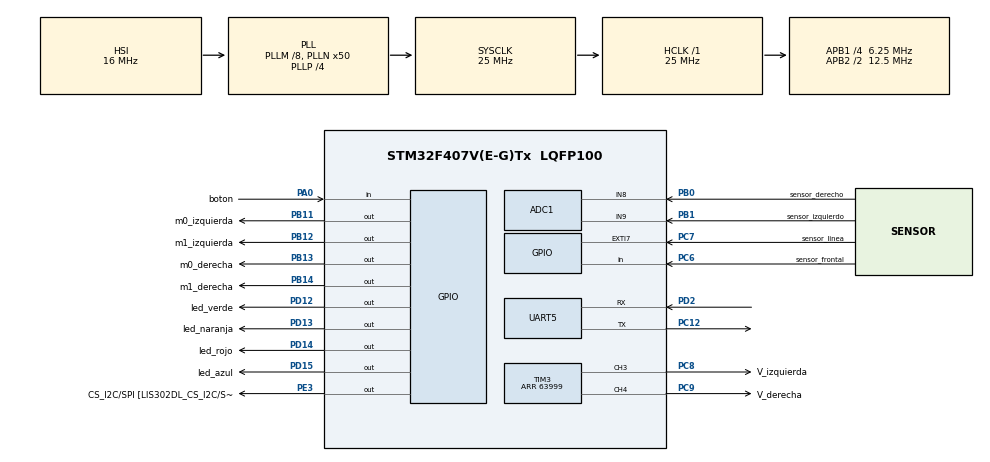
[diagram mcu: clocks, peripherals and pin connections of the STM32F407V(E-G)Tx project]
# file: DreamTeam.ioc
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ADC1.Channel-1\#ChannelRegularConversion=ADC_CHANNEL_9
ADC1.Channel-2\#ChannelRegularConversion=ADC_CHANNEL_8
ADC1.ClockPrescaler=ADC_CLOCK_SYNC_PCLK_DIV8
ADC1.ContinuousConvMode=ENABLE
ADC1.DMAContinuousRequests=ENABLE
ADC1.DiscontinuousConvMode=DISABLE
ADC1.EOCSelection=ADC_EOC_SEQ_CONV
ADC1.NbrOfConversion=2
ADC1.NbrOfConversionFlag=1
ADC1.Rank-1\#ChannelRegularConversion=1
ADC1.Rank-2\#ChannelRegularConversion=2
ADC1.SamplingTime-1\#ChannelRegularConversion=ADC_SAMPLETIME_3CYCLES
ADC1.SamplingTime-2\#ChannelRegularConversion=ADC_SAMPLETIME_3CYCLES
ADC1.ScanConvMode=ENABLE
ADC1.master=1
Dma.ADC1.0.Direction=DMA_PERIPH_TO_MEMORY
Dma.ADC1.0.FIFOMode=DMA_FIFOMODE_DISABLE
Dma.ADC1.0.Instance=DMA2_Stream0
Dma.ADC1.0.MemDataAlignment=DMA_MDATAALIGN_HALFWORD
Dma.ADC1.0.MemInc=DMA_MINC_ENABLE
Dma.ADC1.0.Mode=DMA_CIRCULAR
Dma.ADC1.0.PeriphDataAlignment=DMA_PDATAALIGN_HALFWORD
Dma.ADC1.0.PeriphInc=DMA_PINC_DISABLE
Dma.ADC1.0.Priority=DMA_PRIORITY_MEDIUM
Dma.Request0=ADC1
Mcu.Family=STM32F4
Mcu.Name=STM32F407V(E-G)Tx
Mcu.Package=LQFP100
NVIC.DMA2_Stream0_IRQn=true\:0\:0\:false\:false\:true\:false\:true\:true
NVIC.EXTI9_5_IRQn=true\:0\:0\:false\:false\:true\:true\:true\:true
NVIC.PriorityGroup=NVIC_PRIORITYGROUP_0
NVIC.TIM8_TRG_COM_TIM14_IRQn=true\:0\:0\:false\:false\:true\:true\:true\:true
NVIC.UART5_IRQn=true\:0\:0\:false\:false\:true\:true\:true\:true
PA0-WKUP.GPIO_Label=boton
PA0-WKUP.Signal=GPIO_Input
PB0.GPIO_Label=sensor_derecho
PB0.Signal=ADCx_IN8
PB1.GPIO_Label=sensor_izquierdo
PB1.Signal=ADCx_IN9
PB11.GPIO_Label=m0_izquierda
PB11.Signal=GPIO_Output
PB12.GPIO_Label=m1_izquierda
PB12.Signal=GPIO_Output
PB13.GPIO_Label=m0_derecha
PB13.Signal=GPIO_Output
PB14.GPIO_Label=m1_derecha
PB14.Signal=GPIO_Output
PC12.Mode=Asynchronous
PC12.Signal=UART5_TX
PC6.GPIO_Label=sensor_frontal
PC6.Signal=GPIO_Input
PC7.GPIO_Label=sensor_linea
PC7.GPIO_ModeDefaultEXTI=GPIO_MODE_IT_FALLING
PC7.Signal=GPXTI7
PC8.GPIO_Label=V_izquierda
PC8.Signal=S_TIM3_CH3
PC9.GPIO_Label=V_derecha
PC9.Signal=S_TIM3_CH4
PD12.GPIO_Label=led_verde
PD12.Signal=GPIO_Output
PD13.GPIO_Label=led_naranja
PD13.Signal=GPIO_Output
PD14.GPIO_Label=led_rojo
PD14.Signal=GPIO_Output
PD15.GPIO_Label=led_azul
PD15.Signal=GPIO_Output
PD2.Mode=Asynchronous
PD2.Signal=UART5_RX
PE3.GPIO_Label=CS_I2C/SPI [LIS302DL_CS_I2C/SPI]
PE3.GPIO_PuPd=GPIO_NOPULL
PE3.GPIO_Speed=GPIO_SPEED_FREQ_LOW
PE3.Signal=GPIO_Output
ProjectManager.HeapSize=0x200
ProjectManager.StackSize=0x400
ProjectManager.TargetToolchain=STM32CubeIDE
RCC.48MHZClocksFreq_Value=14285714.285714285
RCC.AHBFreq_Value=25000000
RCC.APB1CLKDivider=RCC_HCLK_DIV4
RCC.APB1Freq_Value=6250000
RCC.APB1TimFreq_Value=12500000
RCC.APB2CLKDivider=RCC_HCLK_DIV2
RCC.APB2Freq_Value=12500000
RCC.APB2TimFreq_Value=25000000
RCC.CortexFreq_Value=25000000
RCC.HCLKFreq_Value=25000000
RCC.HSE_VALUE=8000000
RCC.HSI_VALUE=16000000
RCC.LSE_VALUE=32768
RCC.PLLM=8
RCC.PLLN=50
RCC.PLLP=RCC_PLLP_DIV4
RCC.PLLQ=7
RCC.SYSCLKFreq_VALUE=25000000
RCC.SYSCLKSource=RCC_SYSCLKSOURCE_PLLCLK
RCC.VCOOutputFreq_Value=100000000
SH.ADCx_IN8.0=ADC1_IN8,IN8
SH.ADCx_IN9.0=ADC1_IN9,IN9
SH.S_TIM3_CH3.0=TIM3_CH3,PWM Generation3 CH3
SH.S_TIM3_CH4.0=TIM3_CH4,PWM Generation4 CH4
TIM14.Period=99
TIM14.Prescaler=12499
TIM3.Channel-PWM\ Generation3\ CH3=TIM_CHANNEL_3
TIM3.Channel-PWM\ Generation4\ CH4=TIM_CHANNEL_4
TIM3.Period=63999
UART5.VirtualMode=Asynchronous
VP_TIM14_VS_ClockSourceINT.Mode=Enable_Timer
VP_TIM3_VS_ClockSourceINT.Mode=Internal
board=STM32F407G-DISC1

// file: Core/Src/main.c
/* USER CODE BEGIN Header */
/**
 ******************************************************************************
 * @file           : main.c
 * @brief          : Main program body
 ******************************************************************************
 * @attention
 *
 * Copyright (c) 2025 STMicroelectronics.
 * All rights reserved.
 *
 * This software is licensed under terms that can be found in the LICENSE file
 * in the root directory of this software component.
 * If no LICENSE file comes with this software, it is provided AS-IS.
 *
 ******************************************************************************
 */
/* USER CODE END Header */
#include "main.h"

/* USER CODE BEGIN Includes */
#include <stdint.h>
#include <stdbool.h>
#include <stdio.h> //Nos permite usar la función sprintf
#include <string.h> //Nos permite usar la función strcat
/* USER CODE END Includes */

/* USER CODE BEGIN PD */

#define norte 0 // Direcciones hacia donde puede estar mirando el autito
#define este  1
#define sur   2
#define oeste 3

#define adelante 0 // Tipos de giro que puede hacer
#define izquierda 1
#define derecha  2
#define giro_180   3

#define avance     0b01
#define retroceso  0b10
#define freno      0b00

#define v_max 63999

#define v_media 32000
/*
 #define v_min 0
 #define v_media_izq 32000
 #define v_media_der 27500
 #define tiempo_giro90_der_max 620   //AUTITO DE DEMIAN
 #define tiempo_giro90_izq_max 620
 #define tiempo_giro90_der_min 580
 #define tiempo_giro90_izq_min 580

 #define tiempo_giro180 1020
 #define tiempo_giro90_2 680
 */
#define v_min 0
#define v_media_izq 31000
#define v_media_der 30000
#define tiempo_giro90_der_max 580  //AUTITO DEL NONO
#define tiempo_giro90_izq_max 580
#define tiempo_giro90_der_min 520
#define tiempo_giro90_izq_min 520

#define tiempo_giro180 1020
#define tiempo_giro90_2 580

#define tiempo_muerto_avanzar 200
#define tiempo_muerto 200
#define tiempo_mini 150
#define tiempo_rebotes 20
#define tiempo_muerto_retroceso 80
#define tiempo_correccion_despues_del_giro 250

#define cant_casilleros 16

/* USER CODE END PD */

ADC_HandleTypeDef hadc1;
DMA_HandleTypeDef hdma_adc1;

TIM_HandleTypeDef htim3;
TIM_HandleTypeDef htim14;

UART_HandleTypeDef huart5;

/* USER CODE BEGIN PV */
char mensaje[32];
const uint8_t delay = 50;
uint8_t ubicacion = 0;    //defino ubicacion (va a ser un numero entre 0 y 15)
uint8_t orientacion_actual = norte;
uint8_t orientacion_futura = norte;
uint8_t casilla_n = 4;   // la casilla a la cual hay q ir
uint8_t giro;
uint8_t peso[cant_casilleros];
uint8_t pared[cant_casilleros];
uint8_t contador_casillas = 0;
uint8_t prueba;
uint8_t contador_giros = 0;
uint8_t uart_llegada = 0;
uint8_t flag_correcion = 0;
uint16_t sensor_izq_min = 32700;
uint16_t sensor_der_min = 32700;
uint16_t sensor_izq_max = 0;
uint16_t sensor_der_max = 0;
uint16_t margen_i;
uint16_t margen_d;
uint8_t contador_aux = 0;

bool ultima_rueda_apagada_d;

uint8_t camino_solucion[32] = { 0 };
uint8_t girando = 0;

volatile uint32_t tiempo_inicio_2 = 0;
volatile uint8_t solicitud_linea = 0;
volatile uint8_t filtrado_linea = 0;

uint16_t dma_buffer[64];

volatile uint8_t contador_correcion = 0;
volatile uint16_t sensor_izq_avg;
volatile uint16_t sensor_der_avg;
/* USER CODE END PV */

void SystemClock_Config(void);
static void MX_GPIO_Init(void);
static void MX_DMA_Init(void);
static void MX_ADC1_Init(void);
static void MX_TIM3_Init(void);
static void MX_UART5_Init(void);
static void MX_TIM14_Init(void);
/* USER CODE BEGIN PFP */
uint8_t obtener_orientacion_futura(uint8_t casilla_actual, uint8_t casilla_n);
uint8_t obtenerGiro(uint8_t orientacion_actual, uint8_t orientacion_futura, uint8_t ubicacioner);
uint8_t act_ubicacion(uint8_t ubicacion, uint8_t orientacion_actual);
void act_pesos(uint8_t *pared, uint8_t *peso);
uint8_t act_pared(uint8_t *pared, uint8_t ubicacion, uint8_t orientacion_actual);
uint8_t calculo_minimo_peso(uint8_t *peso, uint8_t *pared, uint8_t ubicacion, uint8_t orientacion_actual);

void eliminar_repetidos(uint8_t *camino_solucion, uint8_t contador_casillas);
void de_reversa_mami(void);
void correccion_avanzar(void);
void avanzar(void);
void apagar_izquierda(void);
void apagar_derecha(void);
void setMotorIzquierdo(uint8_t modo);
void setMotorDerecho(uint8_t modo);
void ejecutarGiro(uint8_t giro);
void prueba_avanzar(void);
void programa_principal(void);
void mini_retroceso(void);
void ajuste_automatico(void);
void mini_avance(void);
void de_reversa_mami(void);
void envio_ubicacion(uint8_t ubicacion, uint8_t casilla_n);
void envio_pared(void);
void envio_llegada(void);
void envio_casilla_n(uint8_t casilla_n);
void envio_contador(uint8_t contador_aux);
void filtrado_linea_funcion(void);
void comprobacion(void);
/* USER CODE END PFP */

int main(void) {

	/* MCU Configuration--------------------------------------------------------*/

	/* Reset of all peripherals, Initializes the Flash interface and the Systick. */
	HAL_Init();

	/* Configure the system clock */
	SystemClock_Config();

	/* Initialize all configured peripherals */
	MX_GPIO_Init();
	MX_DMA_Init();
	MX_ADC1_Init();
	MX_TIM3_Init();
	MX_UART5_Init();
	MX_TIM14_Init();
	/* USER CODE BEGIN 2 */

	HAL_ADC_Start_DMA(&hadc1, (uint32_t*) dma_buffer, 64);

	peso[15] = 0;  //inicialización de pesos
	peso[11] = peso[14] = 1;
	peso[7] = peso[10] = peso[13] = 2;
	peso[3] = peso[6] = peso[9] = peso[12] = 3;
	peso[2] = peso[5] = peso[8] = 4;
	peso[1] = peso[4] = 5;
	peso[0] = 6;

	//paredes de cada casilla (8=pared en norte, 4=pared en este, 2=pared en sur, 1=pared en oeste)
	pared[0] = 6; //se suma sur y este
	pared[1] = pared[2] = 2; //solo sur
	pared[3] = 3;  //se suma sur y oeste
	pared[7] = pared[11] = 1; // solo oeste
	pared[15] = 9;  //se suma norte y oeste
	pared[14] = pared[13] = 8; //solo norte
	pared[12] = 12; //se suma mprte y este
	pared[4] = pared[8] = 4; //solo este
	pared[5] = pared[6] = pared[9] = pared[10] = 0;

	girando = 0;

	HAL_GPIO_WritePin(m1_izquierda_GPIO_Port, m1_izquierda_Pin, GPIO_PIN_RESET); // INICIALIZACION EN AVANZAR
	HAL_GPIO_WritePin(m0_izquierda_GPIO_Port, m0_izquierda_Pin, GPIO_PIN_SET);
	HAL_GPIO_WritePin(m1_derecha_GPIO_Port, m1_derecha_Pin, GPIO_PIN_RESET);
	HAL_GPIO_WritePin(m0_derecha_GPIO_Port, m0_derecha_Pin, GPIO_PIN_SET);
	HAL_TIM_PWM_Start(&htim3, TIM_CHANNEL_3); // Inicio de la modulación PWM, rueda izquierda
	HAL_TIM_PWM_Start(&htim3, TIM_CHANNEL_4); // Inicio de la modulación PWM, rueda derecha
	TIM3->CCR3 = 0; // rueda a velocidad media (condigurable)
	TIM3->CCR4 = 0; // rueda a velocidad media

	HAL_GPIO_WritePin(led_verde_GPIO_Port, led_verde_Pin, GPIO_PIN_RESET);
	HAL_GPIO_WritePin(led_naranja_GPIO_Port, led_naranja_Pin, GPIO_PIN_RESET);
	HAL_GPIO_WritePin(led_rojo_GPIO_Port, led_rojo_Pin, GPIO_PIN_RESET);
	HAL_GPIO_WritePin(led_azul_GPIO_Port, led_azul_Pin, GPIO_PIN_RESET);

	HAL_TIM_Base_Start_IT(&htim14);

	ubicacion = 0;
	uart_llegada = 0;

	prueba = 1; //Aca se elige que programa queremos que se realice
	/* USER CODE END 2 */

	/* Infinite loop */
	while (1) {

		/* USER CODE BEGIN 3 */

		switch (prueba) {

		case 0: {
			prueba_avanzar();
			break;
		}
		case 1: {
			camino_solucion[0] = 0;
			contador_correcion = 0;
			sensor_izq_min = 32700;
			sensor_der_min = 32700;
			sensor_izq_max = 0;
			sensor_der_max = 0;
			ubicacion = 0;
			prueba = 5;
			break;
		}
		case 3: {
			if (HAL_GPIO_ReadPin(boton_GPIO_Port, boton_Pin) == GPIO_PIN_SET) {
				HAL_Delay(40);
				if (HAL_GPIO_ReadPin(boton_GPIO_Port, boton_Pin) == GPIO_PIN_SET) {
					ubicacion = 0;
					envio_ubicacion(ubicacion, casilla_n);
					prueba = 4;
					HAL_Delay(1000);
					if (ubicacion == 15) {
						if (orientacion_actual == norte) {
							orientacion_actual = sur;
							casilla_n = 11;
						}
						if (orientacion_actual == oeste) {
							orientacion_actual = este;
							casilla_n = 14;
						}
					}

				}
			}
			break;
		}
		case 4: {
			HAL_GPIO_WritePin(led_rojo_GPIO_Port, led_rojo_Pin, GPIO_PIN_RESET);
			HAL_GPIO_WritePin(led_verde_GPIO_Port, led_verde_Pin, GPIO_PIN_SET);
			programa_principal();
			break;
		}
		case 5: {
			HAL_GPIO_WritePin(led_rojo_GPIO_Port, led_rojo_Pin, GPIO_PIN_SET);
			HAL_GPIO_WritePin(led_azul_GPIO_Port, led_azul_Pin, GPIO_PIN_SET);
			ajuste_automatico();
			contador_correcion = 0;
			break;
		}

		case 10:
			contador_correcion = 0;
			TIM3->CCR3 = 0;
			TIM3->CCR4 = 0;
			HAL_GPIO_WritePin(led_verde_GPIO_Port, led_verde_Pin, GPIO_PIN_SET);
			HAL_GPIO_WritePin(led_naranja_GPIO_Port, led_naranja_Pin, GPIO_PIN_SET);
			HAL_GPIO_WritePin(led_rojo_GPIO_Port, led_rojo_Pin, GPIO_PIN_SET);
			HAL_GPIO_WritePin(led_azul_GPIO_Port, led_azul_Pin, GPIO_PIN_SET);
			envio_llegada();
			if (HAL_GPIO_ReadPin(boton_GPIO_Port, boton_Pin) == GPIO_PIN_SET) {
				HAL_Delay(40);
				if (HAL_GPIO_ReadPin(boton_GPIO_Port, boton_Pin) == GPIO_PIN_SET) {
					prueba = 11;
					HAL_GPIO_WritePin(led_verde_GPIO_Port, led_verde_Pin, GPIO_PIN_RESET);
					HAL_GPIO_WritePin(led_naranja_GPIO_Port, led_naranja_Pin, GPIO_PIN_RESET);
					HAL_GPIO_WritePin(led_rojo_GPIO_Port, led_rojo_Pin, GPIO_PIN_RESET);
					HAL_GPIO_WritePin(led_azul_GPIO_Port, led_azul_Pin, GPIO_PIN_RESET);
				}
			}
			break;
		case 11:
			//eliminar_repetidos(camino_solucion, contador_casillas);

			contador_giros = 0;
			contador_correcion = 0;
			contador_casillas = contador_casillas - 1;
			casilla_n = camino_solucion[contador_casillas];
			envio_casilla_n(casilla_n);
			ejecutarGiro(giro_180);

			prueba = 12;
			break;
		case 12:
			de_reversa_mami();
			break;
		}

	}
	/* USER CODE END 3 */
}

void SystemClock_Config(void) {
	RCC_OscInitTypeDef RCC_OscInitStruct = { 0 };
	RCC_ClkInitTypeDef RCC_ClkInitStruct = { 0 };

	/** Configure the main internal regulator output voltage
	 */
	__HAL_RCC_PWR_CLK_ENABLE();
	__HAL_PWR_VOLTAGESCALING_CONFIG(PWR_REGULATOR_VOLTAGE_SCALE1);

	/** Initializes the RCC Oscillators according to the specified parameters
	 * in the RCC_OscInitTypeDef structure.
	 */
	RCC_OscInitStruct.OscillatorType = RCC_OSCILLATORTYPE_HSI;
	RCC_OscInitStruct.HSIState = RCC_HSI_ON;
	RCC_OscInitStruct.HSICalibrationValue = RCC_HSICALIBRATION_DEFAULT;
	RCC_OscInitStruct.PLL.PLLState = RCC_PLL_ON;
	RCC_OscInitStruct.PLL.PLLSource = RCC_PLLSOURCE_HSI;
	RCC_OscInitStruct.PLL.PLLM = 8;
	RCC_OscInitStruct.PLL.PLLN = 50;
	RCC_OscInitStruct.PLL.PLLP = RCC_PLLP_DIV4;
	RCC_OscInitStruct.PLL.PLLQ = 7;
	if (HAL_RCC_OscConfig(&RCC_OscInitStruct) != HAL_OK) {
		Error_Handler();
	}

	/** Initializes the CPU, AHB and APB buses clocks
	 */
	RCC_ClkInitStruct.ClockType = RCC_CLOCKTYPE_HCLK | RCC_CLOCKTYPE_SYSCLK | RCC_CLOCKTYPE_PCLK1 | RCC_CLOCKTYPE_PCLK2;
	RCC_ClkInitStruct.SYSCLKSource = RCC_SYSCLKSOURCE_PLLCLK;
	RCC_ClkInitStruct.AHBCLKDivider = RCC_SYSCLK_DIV1;
	RCC_ClkInitStruct.APB1CLKDivider = RCC_HCLK_DIV4;
	RCC_ClkInitStruct.APB2CLKDivider = RCC_HCLK_DIV2;

	if (HAL_RCC_ClockConfig(&RCC_ClkInitStruct, FLASH_LATENCY_0) != HAL_OK) {
		Error_Handler();
	}
}

static void MX_ADC1_Init(void) {

	ADC_ChannelConfTypeDef sConfig = { 0 };

	/** Configure the global features of the ADC (Clock, Resolution, Data Alignment and number of conversion)
	 */
	hadc1.Instance = ADC1;
	hadc1.Init.ClockPrescaler = ADC_CLOCK_SYNC_PCLK_DIV8;
	hadc1.Init.Resolution = ADC_RESOLUTION_12B;
	hadc1.Init.ScanConvMode = ENABLE;
	hadc1.Init.ContinuousConvMode = ENABLE;
	hadc1.Init.DiscontinuousConvMode = DISABLE;
	hadc1.Init.ExternalTrigConvEdge = ADC_EXTERNALTRIGCONVEDGE_NONE;
	hadc1.Init.ExternalTrigConv = ADC_SOFTWARE_START;
	hadc1.Init.DataAlign = ADC_DATAALIGN_RIGHT;
	hadc1.Init.NbrOfConversion = 2;
	hadc1.Init.DMAContinuousRequests = ENABLE;
	hadc1.Init.EOCSelection = ADC_EOC_SEQ_CONV;
	if (HAL_ADC_Init(&hadc1) != HAL_OK) {
		Error_Handler();
	}

	/** Configure for the selected ADC regular channel its corresponding rank in the sequencer and its sample time.
	 */
	sConfig.Channel = ADC_CHANNEL_9;
	sConfig.Rank = 1;
	sConfig.SamplingTime = ADC_SAMPLETIME_3CYCLES;
	if (HAL_ADC_ConfigChannel(&hadc1, &sConfig) != HAL_OK) {
		Error_Handler();
	}

	/** Configure for the selected ADC regular channel its corresponding rank in the sequencer and its sample time.
	 */
	sConfig.Channel = ADC_CHANNEL_8;
	sConfig.Rank = 2;
	if (HAL_ADC_ConfigChannel(&hadc1, &sConfig) != HAL_OK) {
		Error_Handler();
	}

}

static void MX_TIM3_Init(void) {

	TIM_ClockConfigTypeDef sClockSourceConfig = { 0 };
	TIM_MasterConfigTypeDef sMasterConfig = { 0 };
	TIM_OC_InitTypeDef sConfigOC = { 0 };

	htim3.Instance = TIM3;
	htim3.Init.Prescaler = 0;
	htim3.Init.CounterMode = TIM_COUNTERMODE_UP;
	htim3.Init.Period = 63999;
	htim3.Init.ClockDivision = TIM_CLOCKDIVISION_DIV1;
	htim3.Init.AutoReloadPreload = TIM_AUTORELOAD_PRELOAD_DISABLE;
	if (HAL_TIM_Base_Init(&htim3) != HAL_OK) {
		Error_Handler();
	}
	sClockSourceConfig.ClockSource = TIM_CLOCKSOURCE_INTERNAL;
	if (HAL_TIM_ConfigClockSource(&htim3, &sClockSourceConfig) != HAL_OK) {
		Error_Handler();
	}
	if (HAL_TIM_PWM_Init(&htim3) != HAL_OK) {
		Error_Handler();
	}
	sMasterConfig.MasterOutputTrigger = TIM_TRGO_RESET;
	sMasterConfig.MasterSlaveMode = TIM_MASTERSLAVEMODE_DISABLE;
	if (HAL_TIMEx_MasterConfigSynchronization(&htim3, &sMasterConfig) != HAL_OK) {
		Error_Handler();
	}
	sConfigOC.OCMode = TIM_OCMODE_PWM1;
	sConfigOC.Pulse = 0;
	sConfigOC.OCPolarity = TIM_OCPOLARITY_HIGH;
	sConfigOC.OCFastMode = TIM_OCFAST_DISABLE;
	if (HAL_TIM_PWM_ConfigChannel(&htim3, &sConfigOC, TIM_CHANNEL_3) != HAL_OK) {
		Error_Handler();
	}
	if (HAL_TIM_PWM_ConfigChannel(&htim3, &sConfigOC, TIM_CHANNEL_4) != HAL_OK) {
		Error_Handler();
	}
	HAL_TIM_MspPostInit(&htim3);

}

static void MX_TIM14_Init(void) {

	htim14.Instance = TIM14;
	htim14.Init.Prescaler = 12499;
	htim14.Init.CounterMode = TIM_COUNTERMODE_UP;
	htim14.Init.Period = 99;
	htim14.Init.ClockDivision = TIM_CLOCKDIVISION_DIV1;
	htim14.Init.AutoReloadPreload = TIM_AUTORELOAD_PRELOAD_DISABLE;
	if (HAL_TIM_Base_Init(&htim14) != HAL_OK) {
		Error_Handler();
	}

}

static void MX_UART5_Init(void) {

	huart5.Instance = UART5;
	huart5.Init.BaudRate = 115200;
	huart5.Init.WordLength = UART_WORDLENGTH_8B;
	huart5.Init.StopBits = UART_STOPBITS_1;
	huart5.Init.Parity = UART_PARITY_NONE;
	huart5.Init.Mode = UART_MODE_TX_RX;
	huart5.Init.HwFlowCtl = UART_HWCONTROL_NONE;
	huart5.Init.OverSampling = UART_OVERSAMPLING_16;
	if (HAL_UART_Init(&huart5) != HAL_OK) {
		Error_Handler();
	}

}

static void MX_DMA_Init(void) {

	/* DMA controller clock enable */
	__HAL_RCC_DMA2_CLK_ENABLE();

	/* DMA interrupt init */
	/* DMA2_Stream0_IRQn interrupt configuration */
	HAL_NVIC_SetPriority(DMA2_Stream0_IRQn, 0, 0);
	HAL_NVIC_EnableIRQ(DMA2_Stream0_IRQn);

}

static void MX_GPIO_Init(void) {
	GPIO_InitTypeDef GPIO_InitStruct = { 0 };

	/* GPIO Ports Clock Enable */
	__HAL_RCC_GPIOE_CLK_ENABLE();
	__HAL_RCC_GPIOA_CLK_ENABLE();
	__HAL_RCC_GPIOB_CLK_ENABLE();
	__HAL_RCC_GPIOD_CLK_ENABLE();
	__HAL_RCC_GPIOC_CLK_ENABLE();

	/*Configure GPIO pin Output Level */
	HAL_GPIO_WritePin(CS_I2C_SPI_GPIO_Port, CS_I2C_SPI_Pin, GPIO_PIN_RESET);

	/*Configure GPIO pin Output Level */
	HAL_GPIO_WritePin(GPIOB, m0_izquierda_Pin | m1_izquierda_Pin | m0_derecha_Pin | m1_derecha_Pin, GPIO_PIN_RESET);

	/*Configure GPIO pin Output Level */
	HAL_GPIO_WritePin(GPIOD, led_verde_Pin | led_naranja_Pin | led_rojo_Pin | led_azul_Pin, GPIO_PIN_RESET);

	/*Configure GPIO pin : CS_I2C_SPI_Pin */
	GPIO_InitStruct.Pin = CS_I2C_SPI_Pin;
	GPIO_InitStruct.Mode = GPIO_MODE_OUTPUT_PP;
	GPIO_InitStruct.Pull = GPIO_NOPULL;
	GPIO_InitStruct.Speed = GPIO_SPEED_FREQ_LOW;
	HAL_GPIO_Init(CS_I2C_SPI_GPIO_Port, &GPIO_InitStruct);

	/*Configure GPIO pin : boton_Pin */
	GPIO_InitStruct.Pin = boton_Pin;
	GPIO_InitStruct.Mode = GPIO_MODE_INPUT;
	GPIO_InitStruct.Pull = GPIO_NOPULL;
	HAL_GPIO_Init(boton_GPIO_Port, &GPIO_InitStruct);

	/*Configure GPIO pins : m0_izquierda_Pin m1_izquierda_Pin m0_derecha_Pin m1_derecha_Pin */
	GPIO_InitStruct.Pin = m0_izquierda_Pin | m1_izquierda_Pin | m0_derecha_Pin | m1_derecha_Pin;
	GPIO_InitStruct.Mode = GPIO_MODE_OUTPUT_PP;
	GPIO_InitStruct.Pull = GPIO_NOPULL;
	GPIO_InitStruct.Speed = GPIO_SPEED_FREQ_LOW;
	HAL_GPIO_Init(GPIOB, &GPIO_InitStruct);

	/*Configure GPIO pins : led_verde_Pin led_naranja_Pin led_rojo_Pin led_azul_Pin */
	GPIO_InitStruct.Pin = led_verde_Pin | led_naranja_Pin | led_rojo_Pin | led_azul_Pin;
	GPIO_InitStruct.Mode = GPIO_MODE_OUTPUT_PP;
	GPIO_InitStruct.Pull = GPIO_NOPULL;
	GPIO_InitStruct.Speed = GPIO_SPEED_FREQ_LOW;
	HAL_GPIO_Init(GPIOD, &GPIO_InitStruct);

	/*Configure GPIO pin : sensor_frontal_Pin */
	GPIO_InitStruct.Pin = sensor_frontal_Pin;
	GPIO_InitStruct.Mode = GPIO_MODE_INPUT;
	GPIO_InitStruct.Pull = GPIO_NOPULL;
	HAL_GPIO_Init(sensor_frontal_GPIO_Port, &GPIO_InitStruct);

	/*Configure GPIO pin : sensor_linea_Pin */
	GPIO_InitStruct.Pin = sensor_linea_Pin;
	GPIO_InitStruct.Mode = GPIO_MODE_IT_FALLING;
	GPIO_InitStruct.Pull = GPIO_NOPULL;
	HAL_GPIO_Init(sensor_linea_GPIO_Port, &GPIO_InitStruct);

	/* EXTI interrupt init*/
	HAL_NVIC_SetPriority(EXTI9_5_IRQn, 0, 0);
	HAL_NVIC_EnableIRQ(EXTI9_5_IRQn);

}

/* USER CODE BEGIN 4 */

void HAL_TIM_PeriodElapsedCallback(TIM_HandleTypeDef *htim) {
	if (htim->Instance == TIM14) {
		contador_correcion = contador_correcion + 1;
	}
	flag_correcion = 1;
}

void comprobacion(void) {
	if (6 == contador_correcion) {
		if (ultima_rueda_apagada_d) {
			apagar_derecha();
		} else {
			apagar_izquierda();
		}
		HAL_GPIO_WritePin(led_rojo_GPIO_Port, led_rojo_Pin, GPIO_PIN_SET);
		HAL_GPIO_WritePin(led_azul_GPIO_Port, led_azul_Pin, GPIO_PIN_SET);
		HAL_GPIO_WritePin(led_verde_GPIO_Port, led_verde_Pin, GPIO_PIN_SET);
		HAL_GPIO_WritePin(led_naranja_GPIO_Port, led_naranja_Pin, GPIO_PIN_SET);
		HAL_Delay(250);
		HAL_GPIO_WritePin(led_rojo_GPIO_Port, led_rojo_Pin, GPIO_PIN_RESET);
		HAL_GPIO_WritePin(led_azul_GPIO_Port, led_azul_Pin, GPIO_PIN_RESET);
		HAL_GPIO_WritePin(led_verde_GPIO_Port, led_verde_Pin, GPIO_PIN_RESET);
		HAL_GPIO_WritePin(led_naranja_GPIO_Port, led_naranja_Pin, GPIO_PIN_RESET);
		avanzar();
		HAL_Delay(20);
		flag_correcion = 0;
	}
}

void eliminar_repetidos(uint8_t *camino_solucion, uint8_t contador_casillas) {
	for (int i = 0; i < contador_casillas - 1; i++) {
		for (int j = i + 1; j < contador_casillas; j++) {
			if (camino_solucion[i] == camino_solucion[j]) {
				// Se encontró repetido: eliminar todo entre i+1 y j inclusive
				uint8_t cantidad_a_eliminar = j - i;

				for (int k = j; k < contador_casillas; k++) {
					camino_solucion[k - cantidad_a_eliminar] = camino_solucion[k];
				}

				contador_casillas = contador_casillas - cantidad_a_eliminar;
				i = -1;  // Reiniciar para volver a analizar todo desde el inicio
				break;
			}
		}
	}

}

void de_reversa_mami(void) {  //codigo para ir de la casilla 15 a la 0... muy chiche
	correccion_avanzar();
	if (solicitud_linea == 1) { //cambio de casilla
		HAL_GPIO_WritePin(led_verde_GPIO_Port, led_verde_Pin, GPIO_PIN_SET);
		contador_correcion = 0;
		contador_giros = 0;
		contador_casillas = contador_casillas - 1;
		envio_ubicacion(ubicacion, casilla_n);
		ubicacion = act_ubicacion(ubicacion, orientacion_actual);
		casilla_n = camino_solucion[contador_casillas]; //calcula la casilla a la que hay q ir
		envio_casilla_n(casilla_n);
		orientacion_futura = obtener_orientacion_futura(ubicacion, casilla_n); //obtiene a la orientacion a la que hay que ir con la ubicacion actual y casilla n
		giro = obtenerGiro(orientacion_actual, orientacion_futura, ubicacion); //con la orientacion futura (orientación q quiero) y la orientacion actual que giro debo realizar
		orientacion_actual = orientacion_futura;  //actualizo la orientación
		if ((giro == derecha) || (giro == giro_180) || (giro == izquierda)) {
			mini_avance();
		}
		ejecutarGiro(giro); //giro y me voy del if
		solicitud_linea = 0;
		HAL_GPIO_WritePin(led_verde_GPIO_Port, led_verde_Pin, GPIO_PIN_RESET);
	}
	if (filtrado_linea == 1) {
		filtrado_linea_funcion();
	}
	if (ubicacion == 0)
		prueba = 10;
}
void ajuste_automatico(void) {

	if ((sensor_der_min == 0) || (sensor_izq_min == 0)) {
		sensor_der_min = 32000;
		sensor_izq_min = 32000;
	}
	if (sensor_der_min > sensor_der_avg) {
		sensor_der_min = sensor_der_avg;
	}
	if (sensor_izq_min > sensor_izq_avg) {
		sensor_izq_min = sensor_izq_avg;
	}
	if (sensor_der_max < sensor_der_avg) {
		sensor_der_max = sensor_der_avg;
	}
	if (sensor_izq_max < sensor_izq_avg) {
		sensor_izq_max = sensor_izq_avg;
	}
	if (HAL_GPIO_ReadPin(boton_GPIO_Port, boton_Pin) == GPIO_PIN_SET) {
		HAL_Delay(40);
		if (HAL_GPIO_ReadPin(boton_GPIO_Port, boton_Pin) == GPIO_PIN_SET) {
			margen_d = ((sensor_der_max * 0.6) + (sensor_der_min * 0.4));
			margen_i = ((sensor_izq_max * 0.6) + (sensor_izq_min * 0.4));
			prueba = 4;
			contador_aux = 0;
			HAL_GPIO_WritePin(led_rojo_GPIO_Port, led_rojo_Pin, GPIO_PIN_RESET);
			HAL_GPIO_WritePin(led_azul_GPIO_Port, led_azul_Pin, GPIO_PIN_RESET);
		}
	}
}

void prueba_avanzar(void) {
	avanzar(); //codigo sencillo para configurar los margenes del ADC y verificacion de las ruedas y pilas
//	ejecutarGiro(izquierda);
//	ejecutarGiro(adelante);

	;
}

void programa_principal(void) {
	if ((ubicacion == 0) || ((ubicacion == 4) && (orientacion_actual == norte))) {
		avanzar();
	} else {
		correccion_avanzar();
	}
	//avanzar();
	if (solicitud_linea == 1) { //cambio de casilla
		HAL_GPIO_WritePin(led_azul_GPIO_Port, led_azul_Pin, GPIO_PIN_SET);
		contador_correcion = 0;
		contador_giros = 0;
		contador_casillas = contador_casillas + 1;
		ubicacion = act_ubicacion(ubicacion, orientacion_actual);
		envio_ubicacion(ubicacion, casilla_n);
		if ((((ubicacion == 0) || (ubicacion == 4) || (ubicacion == 8) || (ubicacion == 12)) && (orientacion_actual == este)) ||                         // columnas izquierda
				((ubicacion >= 12) && (orientacion_actual == norte)) ||       // fila inferior
				((ubicacion >= 0 && ubicacion <= 3) && (orientacion_actual == sur)) ||           // fila superior
				((ubicacion % 4 == 3) && (orientacion_actual == oeste))                           // columnas derecha
				) {
			contador_aux = contador_aux + 1;
			mini_avance();
			mini_avance();
		}
		casilla_n = calculo_minimo_peso(peso, pared, ubicacion, orientacion_actual); //calcula la casilla a la que hay q ir
		envio_casilla_n(casilla_n);
		orientacion_futura = obtener_orientacion_futura(ubicacion, casilla_n); //obtiene a la orientacion a la que hay que ir con la ubicacion actual y casilla n
		if (ubicacion == 15) {
			if (orientacion_actual == norte) {
				orientacion_actual = sur;
				casilla_n = 11;
			}
			if (orientacion_actual == oeste) {
				orientacion_actual = este;
				casilla_n = 14;
			}
		}
		giro = obtenerGiro(orientacion_actual, orientacion_futura, ubicacion); //con la orientacion futura (orientación q quiero) y la orientacion actual que giro debo realizar
		if (ubicacion != 15) {
			orientacion_actual = orientacion_futura;  //actualizo la orientación
		}
		if ((giro == derecha) || (giro == giro_180) || (giro == izquierda)) {
			mini_avance();
		}
		ejecutarGiro(giro); //giro y me voy del if
		camino_solucion[contador_casillas] = ubicacion;
		solicitud_linea = 0;
		HAL_GPIO_WritePin(led_azul_GPIO_Port, led_azul_Pin, GPIO_PIN_RESET);
	}
	if (GPIO_PIN_RESET == HAL_GPIO_ReadPin(sensor_frontal_GPIO_Port, sensor_frontal_Pin)) {
		HAL_Delay(tiempo_rebotes);
		if (HAL_GPIO_ReadPin(sensor_frontal_GPIO_Port, sensor_frontal_Pin) == GPIO_PIN_RESET) {
			HAL_GPIO_WritePin(led_naranja_GPIO_Port, led_naranja_Pin, GPIO_PIN_SET);
			if (!(ubicacion == 15)) {
				contador_correcion = 0;
				envio_pared();
				setMotorIzquierdo(avance);
				setMotorDerecho(avance);
				HAL_Delay(tiempo_muerto_avanzar);
				mini_retroceso();
				//mini_avance();
				act_pared(pared, ubicacion, orientacion_actual); //primero actualiza la pared encontrada
				act_pesos(pared, peso);  //luego actualiza el peso
				casilla_n = calculo_minimo_peso(peso, pared, ubicacion, orientacion_actual); //calcula la casilla a la que hay q ir
				envio_casilla_n(casilla_n);
				//	envio_contador(contador_aux);
				orientacion_futura = obtener_orientacion_futura(ubicacion, casilla_n); //obtiene a la orientacion a la que hay que ir con la ubicacion actual y casilla n
				giro = obtenerGiro(orientacion_actual, orientacion_futura, ubicacion); //con la orientacion futura (orientación q quiero) y la orientacion actual que giro debo realizar
				orientacion_actual = orientacion_futura;  //actualizo la orientación
				if (contador_giros > 0) {
					mini_retroceso();
				}
				ejecutarGiro(giro); //giro y me voy del if
				HAL_GPIO_WritePin(led_naranja_GPIO_Port, led_naranja_Pin, GPIO_PIN_RESET);
			}

		}
	}
	if (filtrado_linea == 1) {
		filtrado_linea_funcion();
		contador_correcion = 0;
	}
	if (ubicacion == 15) {
		prueba = 10;
	}
	if ((flag_correcion == 1) && (ubicacion != 0)) {
		comprobacion();
		flag_correcion = 0;
	}
}

uint8_t obtener_orientacion_futura(uint8_t ubicacion, uint8_t casilla_n) { // Devuelve la dirección hacia donde hay que ir según la diferencia entre casillas
	if (casilla_n == ubicacion + 1)
		return oeste;
	if (casilla_n == ubicacion - 1)
		return este;
	if (casilla_n == ubicacion + 4)
		return norte;
	if (casilla_n == ubicacion - 4)
		return sur;

	return 100; // Movimiento no válido (no adyacente o fuera del tablero)
}

uint8_t obtenerGiro(uint8_t orientacion_actual, uint8_t orientacion_futura, uint8_t ubicacion) { // Calcula el giro que debe hacer el autito para pasar de su orientación actual a la deseada
	int diferencia = (orientacion_futura - orientacion_actual + 4) % 4; //el %4 se queda con el resto de la divsion por 4
	if (ubicacion == 15) {
		return adelante;
	}
	switch (diferencia) {
	case 0:
		return adelante;
	case 1:
		return derecha;
	case 2:
		return giro_180;
	case 3:
		return izquierda;
	default:
		return 100; // Error
	}
}
uint8_t act_ubicacion(uint8_t ubicacion, uint8_t orientacion_actual) {

	switch (orientacion_actual) {
	case 0:
		return ubicacion + 4;
	case 1:
		return ubicacion - 1;
	case 2:
		return ubicacion - 4;
	case 3:
		return ubicacion + 1;
	default:
		return 100; // Error
	}
}

void promediar(uint16_t *buffer) {
	uint32_t sensor_izq_sum = 0, sensor_der_sum = 0; // Inicializamos variables para acumular la suma de las muestras
	for (int i = 0; i < 16; ++i) { // Ralizamos la suma incrementando el puntero a las muestras
		sensor_izq_sum += buffer[0];
		sensor_der_sum += buffer[1]; //hago la suma y la guardo (eso significa el +=)
		buffer += 2;  //desplazo el puntero 2
	}
	sensor_izq_avg = sensor_izq_sum / 16; //divido 16 porq son 16 muestras
	sensor_der_avg = sensor_der_sum / 16;
}
void HAL_ADC_ConvHalfCpltCallback(ADC_HandleTypeDef *hadc) { // Rutina de antención a la interrupción de buffer a mitad
// Promediamos la primera mitad del buffer (el primer bloque de tamaño mínimo)
	promediar(&dma_buffer[0]);
}

void HAL_ADC_ConvCpltCallback(ADC_HandleTypeDef *hadc) { // Rutina de antención a la interrupción de buffer a tope
// Promediamos la segunda mitad del buffer (el segundo bloque de tamaño mínimo)
	promediar(&dma_buffer[32]);
}
void correccion_avanzar(void) {
	// corrección para el sensor izquierdo //auto demian
	if ((sensor_izq_avg < margen_i) && (margen_d < sensor_der_avg)) {
		apagar_izquierda();  // apagar motor derecho
		HAL_GPIO_WritePin(led_rojo_GPIO_Port, led_rojo_Pin, GPIO_PIN_SET);
		ultima_rueda_apagada_d = true;
		contador_correcion = 0;
	} else if ((margen_i < sensor_izq_avg) && (sensor_der_avg < margen_d)) { // avanzar con ambos motores
		apagar_derecha();  //apaga motor izquierdo
		HAL_GPIO_WritePin(led_rojo_GPIO_Port, led_rojo_Pin, GPIO_PIN_SET);
		ultima_rueda_apagada_d = false;
		contador_correcion = 0;
	} else if ((margen_i > sensor_izq_avg) && (sensor_der_avg < margen_d)) {
		avanzar();
		HAL_GPIO_WritePin(led_rojo_GPIO_Port, led_rojo_Pin, GPIO_PIN_RESET);
	} else {
		avanzar();
		HAL_GPIO_WritePin(led_rojo_GPIO_Port, led_rojo_Pin, GPIO_PIN_RESET);
	}

	/*
	 if ((sensor_izq_avg > margen_i) && (margen_d > sensor_der_avg)) {
	 apagar_derecha();  // apagar motor derecho
	 ultima_rueda_apagada_d = false; // la ultima correccion fue a la derecha
	 } else if ((margen_i > sensor_izq_avg) && (sensor_der_avg > margen_d)) { // avanzar con ambos motores
	 apagar_izquierda();  //apaga motor izquierdo
	 ultima_rueda_apagada_d = true; //la ultima correccion no fue a la derecha (es decir, q fue a la izquierda)
	 } else if ((margen_i < sensor_izq_avg) && (sensor_der_avg > margen_d)) {
	 avanzar();
	 } else {
	 avanzar();
	 }
	 */
}
void avanzar(void) {
	HAL_GPIO_WritePin(m1_izquierda_GPIO_Port, m1_izquierda_Pin, GPIO_PIN_RESET);
	HAL_GPIO_WritePin(m0_izquierda_GPIO_Port, m0_izquierda_Pin, GPIO_PIN_SET);
	HAL_GPIO_WritePin(m1_derecha_GPIO_Port, m1_derecha_Pin, GPIO_PIN_RESET);
	HAL_GPIO_WritePin(m0_derecha_GPIO_Port, m0_derecha_Pin, GPIO_PIN_SET);
	TIM3->CCR3 = v_media_izq; // rueda a velocidad media (condigurable)
	TIM3->CCR4 = v_media_der; // rueda a velocidad media
}

void apagar_izquierda(void) {
	HAL_GPIO_WritePin(m1_izquierda_GPIO_Port, m1_izquierda_Pin, GPIO_PIN_RESET);
	HAL_GPIO_WritePin(m0_izquierda_GPIO_Port, m0_izquierda_Pin, GPIO_PIN_SET);
	HAL_GPIO_WritePin(m1_derecha_GPIO_Port, m1_derecha_Pin, GPIO_PIN_RESET);
	HAL_GPIO_WritePin(m0_derecha_GPIO_Port, m0_derecha_Pin, GPIO_PIN_RESET);
	TIM3->CCR3 = v_media_izq; // rueda a velocidad media (condigurable)
	TIM3->CCR4 = v_min; // rueda a velocidad media
}

void apagar_derecha(void) {
	HAL_GPIO_WritePin(m1_izquierda_GPIO_Port, m1_izquierda_Pin, GPIO_PIN_RESET);
	HAL_GPIO_WritePin(m0_izquierda_GPIO_Port, m0_izquierda_Pin, GPIO_PIN_RESET);
	HAL_GPIO_WritePin(m1_derecha_GPIO_Port, m1_derecha_Pin, GPIO_PIN_RESET);
	HAL_GPIO_WritePin(m0_derecha_GPIO_Port, m0_derecha_Pin, GPIO_PIN_SET);
	TIM3->CCR3 = v_min; // rueda a velocidad media (condigurable)
	TIM3->CCR4 = v_media_der; // rueda a velocidad media
}

void mini_retroceso(void) {
	setMotorIzquierdo(retroceso);
	setMotorDerecho(retroceso);
	HAL_Delay(tiempo_muerto_retroceso);
}
void mini_avance(void) {
	setMotorIzquierdo(avance);
	setMotorDerecho(avance);
	HAL_Delay(tiempo_muerto);
}

void ejecutarGiro(uint8_t giro) {

	switch (giro) {
	case adelante:
		mini_avance(); //este es para q siga recto y no corrija mal
		break;
	case derecha:
		if (contador_giros == 0) {
			contador_giros = contador_giros + 1;
			setMotorIzquierdo(avance);
			setMotorDerecho(retroceso);
			if (ultima_rueda_apagada_d) {
				HAL_Delay(tiempo_giro90_der_min); //si ultima_rueda_apagada_d es true significa q la ultima rueda q se apago es la derecha, es decir q estará inclinado hacia la derecha. por lo q si quiere ir a la derecha, necesita un valor minimo de giro
			} else {
				HAL_Delay(tiempo_giro90_der_max); //caso opuesto al anterior, la ultima rueda q se apago es la izq, se inclina hacia de izquierda por lo q necesita un valor max
			}

			mini_avance();
			/*	HAL_Delay(tiempo_muerto);
			 HAL_Delay(tiempo_muerto);
			 */
		} else {
			contador_giros = contador_giros + 1;
			setMotorIzquierdo(avance);
			setMotorDerecho(retroceso);
			HAL_Delay(tiempo_giro90_2);
			mini_avance();
		}
		break;
	case izquierda:
		if (contador_giros == 0) {
			contador_giros = contador_giros + 1;
			setMotorIzquierdo(retroceso);
			setMotorDerecho(avance);
			if (ultima_rueda_apagada_d) {
				HAL_Delay(tiempo_giro90_izq_max); //si ultima_rueda_apagada_d es true significa q la ultima rueda q se apago es la derecha, es decir q estará inclinado hacia la derecha. por lo q si quiere ir a la izquierda, necesita un valor maximo de giro
			} else {
				HAL_Delay(tiempo_giro90_izq_min); //lo opuesto a lo anterior.
			}

			mini_avance();
			/*		HAL_Delay(tiempo_muerto);
			 HAL_Delay(tiempo_muerto);
			 */
		} else {
			contador_giros = contador_giros + 1;
			setMotorIzquierdo(retroceso);
			setMotorDerecho(avance);
			HAL_Delay(tiempo_giro90_2);
			mini_avance();
		}
		break;

	case giro_180:
		contador_giros = contador_giros + 1;
		setMotorIzquierdo(avance);
		setMotorDerecho(retroceso);
		HAL_Delay(tiempo_giro180);
		mini_avance();
		mini_avance();
		break;

	}

	if ((giro == izquierda) || (giro == derecha) || (giro == giro_180)) {  // si giro, verifico si tiene algun sensor cerca luego de avanzar un poco, en ese caso, corrige nuevamente por 200 milisegundos
		if ((sensor_izq_avg < margen_i) && (margen_d < sensor_der_avg)) {
			apagar_izquierda();  // apagar motor derecho
			HAL_Delay(tiempo_correccion_despues_del_giro);
		} else if ((margen_i < sensor_izq_avg) && (sensor_der_avg < margen_d)) { // avanzar con ambos motores
			apagar_derecha();  //apaga motor izquierdo
			HAL_Delay(tiempo_correccion_despues_del_giro);
		} else if ((margen_i > sensor_izq_avg) && (sensor_der_avg < margen_d)) {
			avanzar();
		}
	}

}

void setMotorIzquierdo(uint8_t modo) {

	TIM3->CCR3 = v_media; // rueda a velocidad media

	switch (modo) {
	case avance:
		HAL_GPIO_WritePin(m1_izquierda_GPIO_Port, m1_izquierda_Pin, GPIO_PIN_RESET);
		HAL_GPIO_WritePin(m0_izquierda_GPIO_Port, m0_izquierda_Pin, GPIO_PIN_SET);
		break;
	case retroceso:
		HAL_GPIO_WritePin(m1_izquierda_GPIO_Port, m1_izquierda_Pin, GPIO_PIN_SET);
		HAL_GPIO_WritePin(m0_izquierda_GPIO_Port, m0_izquierda_Pin, GPIO_PIN_RESET);
		break;
	}
}

void setMotorDerecho(uint8_t modo) {

	TIM3->CCR4 = v_media; // rueda a velocidad media

	switch (modo) {
	case avance:
		HAL_GPIO_WritePin(m1_derecha_GPIO_Port, m1_derecha_Pin, GPIO_PIN_RESET);
		HAL_GPIO_WritePin(m0_derecha_GPIO_Port, m0_derecha_Pin, GPIO_PIN_SET);
		break;
	case retroceso:
		HAL_GPIO_WritePin(m1_derecha_GPIO_Port, m1_derecha_Pin, GPIO_PIN_SET);
		HAL_GPIO_WritePin(m0_derecha_GPIO_Port, m0_derecha_Pin, GPIO_PIN_RESET);
		break;

	}
}

uint8_t act_pared(uint8_t *pared, uint8_t ubicacion, uint8_t orientacion_actual) { // este CODIGO ES SUPONIENDO Q YA SE DETECTO LA PARED

	// actualizamos el valor de pared según la orientación
	switch (orientacion_actual) { //SE PONE 0X08 PORQ ES HEXADECIMAL, SI NO LO PONES ESTA EN OTRA BASE, ME HIZO RE CONFUNDIR
	case norte: // TAMBIEN USO EL |= PARA Q SI DETECTA UNA PARED YA INICIALIZADA NO LA SUME Y ACUMULE UN CARRY , SI NO Q HAGA LA OR
		pared[ubicacion] |= 0x08;  // suma 8 (1000 en binario)
		break;
	case este:
		pared[ubicacion] |= 0x04;  // suma 4 (0100 en binario)
		break;
	case sur:
		pared[ubicacion] |= 0x02;  // suma 2 (0010 en binario)
		break;
	case oeste:
		pared[ubicacion] |= 0x01;  // suma 1 (0001 en binario)
		break;
	default:
		return 0; // Orientación no válida
	}
	return pared[ubicacion];  // devolvés el valor actualizado
}

void act_pesos(uint8_t *pared, uint8_t *peso) {
	uint8_t minimo_peso_vecino;
	for (int j = 0; j < 15; j++) {
		for (int i = 0; i < cant_casilleros - 1; i++) {
			minimo_peso_vecino = 100;
			if (((i + 4 < cant_casilleros) && (pared[i] & 0x08) == 0)) { //mirar la el vecino de arriba si el bit 3 es 0 y si i es menor a 12 (es decir q no tiene pared superior) PORQUE SI NO NO PUEDE CALCULAR EL VECINO DE ARRIBA PORQ SERIA I+4 Y SI I ES 12 O MAS, I+4 VA A DAR 16 O MAS, Q NO EXISTE
				if (peso[i + 4] < minimo_peso_vecino)
					minimo_peso_vecino = peso[i + 4];
			}

			if (((!(i == 3 || i == 7 || i == 11 || i == 15)) && (pared[i] & 0x01) == 0)) { //ideam mirar el vecino derecha si el bit 2 es 0 y si el numero es distinto a 3 7 11 y 15 PORQ EN ESE CASO NO TIENE VECINO A LA derecha (LIMITE DEL MAPA)
				if (peso[i + 1] < minimo_peso_vecino)
					minimo_peso_vecino = peso[i + 1];
			}

			if (((i >= 4) && (pared[i] & 0x02) == 0)) { //ideam al primero, mira el vecino de abajo en el caso de q i sea mayor o igual a 4
				if (peso[i - 4] < minimo_peso_vecino)
					minimo_peso_vecino = peso[i - 4];
			}

			if (((pared[i] & 0x04) == 0) && (!(i == 0 || i == 4 || i == 8 || i == 12))) { //ideam al dos
				if (peso[i - 1] < minimo_peso_vecino)
					minimo_peso_vecino = peso[i - 1];
			}

			peso[i] = minimo_peso_vecino + 1;
		}
	}
}

uint8_t calculo_minimo_peso(uint8_t *peso, uint8_t *pared, uint8_t ubicacion, uint8_t orientacion_actual) {
	uint8_t minimo_peso = 15;
	if (ubicacion == 15) {
		casilla_n = 15;
		return casilla_n;
	} else {

		switch (orientacion_actual) {	//paredes de cada casilla (8=pared en norte, 4=pared en este, 2=pared en sur, 1=pared en oeste)
		case norte:
			if (((peso[ubicacion + 4] < minimo_peso) && ((pared[ubicacion] & 0x08) == 0) && (ubicacion + 4 < cant_casilleros))) {
				minimo_peso = peso[ubicacion + 4];
				casilla_n = ubicacion + 4;
			}
			if (((peso[ubicacion + 1] < minimo_peso) && ((pared[ubicacion] & 0x01) == 0) && !(ubicacion == 3 || ubicacion == 7 || ubicacion == 11 || ubicacion == 15))) { // el signo de admiracion niega y convierte en booleana ubicacion
				minimo_peso = peso[ubicacion + 1];
				casilla_n = ubicacion + 1;
			}
			if (((peso[ubicacion - 1] < minimo_peso) && ((pared[ubicacion] & 0x04) == 0) && !(ubicacion == 0 || ubicacion == 4 || ubicacion == 8 || ubicacion == 12))) {
				contador_aux = contador_aux + 1;
				minimo_peso = peso[ubicacion - 1];
				casilla_n = ubicacion - 1;
			}
			if (((peso[ubicacion - 4] < minimo_peso) && ((pared[ubicacion] & 0x02) == 0) && (4 <= ubicacion))) {
				minimo_peso = peso[ubicacion - 4];
				casilla_n = ubicacion - 4;
			}
			return casilla_n;
			break;
		case sur:
			if (((peso[ubicacion - 4] < minimo_peso) && ((pared[ubicacion] & 0x02) == 0) && (4 <= ubicacion))) {
				minimo_peso = peso[ubicacion - 4];
				casilla_n = ubicacion - 4;
			}

			if (((peso[ubicacion + 1] < minimo_peso) && ((pared[ubicacion] & 0x01) == 0) && !(ubicacion == 3 || ubicacion == 7 || ubicacion == 11 || ubicacion == 15))) { // el signo de admiracion niega y convierte en booleana ubicacion
				minimo_peso = peso[ubicacion + 1];
				casilla_n = ubicacion + 1;
			}
			if (((peso[ubicacion - 1] < minimo_peso) && ((pared[ubicacion] & 0x04) == 0) && !(ubicacion == 0 || ubicacion == 4 || ubicacion == 8 || ubicacion == 12))) {
				minimo_peso = peso[ubicacion - 1];
				casilla_n = ubicacion - 1;
			}

			if (((peso[ubicacion + 4] < minimo_peso) && ((pared[ubicacion] & 0x08) == 0) && (ubicacion + 4 < cant_casilleros))) {
				minimo_peso = peso[ubicacion + 4];
				casilla_n = ubicacion + 4;
			}
			return casilla_n;
			break;
		case oeste:
			if (((peso[ubicacion + 1] < minimo_peso) && ((pared[ubicacion] & 0x01) == 0) && !(ubicacion == 3 || ubicacion == 7 || ubicacion == 11 || ubicacion == 15))) { // el signo de admiracion niega y convierte en booleana ubicacion
				minimo_peso = peso[ubicacion + 1];
				casilla_n = ubicacion + 1;
			}
			if (((peso[ubicacion + 4] < minimo_peso) && ((pared[ubicacion] & 0x08) == 0) && (ubicacion + 4 < cant_casilleros))) {
				minimo_peso = peso[ubicacion + 4];
				casilla_n = ubicacion + 4;
			}

			if (((peso[ubicacion - 4] < minimo_peso) && ((pared[ubicacion] & 0x02) == 0) && (4 <= ubicacion))) {
				minimo_peso = peso[ubicacion - 4];
				casilla_n = ubicacion - 4;
			}

			if (((peso[ubicacion - 1] < minimo_peso) && ((pared[ubicacion] & 0x04) == 0) && !(ubicacion == 0 || ubicacion == 4 || ubicacion == 8 || ubicacion == 12))) {
				minimo_peso = peso[ubicacion - 1];
				casilla_n = ubicacion - 1;
			}
			return casilla_n;
			break;
		case este:
			if (((peso[ubicacion - 1] < minimo_peso) && ((pared[ubicacion] & 0x04) == 0) && !(ubicacion == 0 || ubicacion == 4 || ubicacion == 8 || ubicacion == 12))) {
				minimo_peso = peso[ubicacion - 1];
				casilla_n = ubicacion - 1;
			}
			if (((peso[ubicacion + 4] < minimo_peso) && ((pared[ubicacion] & 0x08) == 0) && (ubicacion + 4 < cant_casilleros))) {
				minimo_peso = peso[ubicacion + 4];
				casilla_n = ubicacion + 4;
			}
			if (((peso[ubicacion - 4] < minimo_peso) && ((pared[ubicacion] & 0x02) == 0) && (4 <= ubicacion))) {
				minimo_peso = peso[ubicacion - 4];
				casilla_n = ubicacion - 4;
			}
			if (((peso[ubicacion + 1] < minimo_peso) && ((pared[ubicacion] & 0x01) == 0) && !(ubicacion == 3 || ubicacion == 7 || ubicacion == 11 || ubicacion == 15))) { // el signo de admiracion niega y convierte en booleana ubicacion
				minimo_peso = peso[ubicacion + 1];
				casilla_n = ubicacion + 1;
			}
			return casilla_n;
			break;
		default:
			return 100;
		}
	}
}

void envio_ubicacion(uint8_t ubicacion, uint8_t casilla_n) {
	if (casilla_n == ubicacion) {
		sprintf(mensaje, "Ubicacion: %d\r\n", ubicacion);
		HAL_UART_Transmit(&huart5, (uint8_t*) mensaje, strlen(mensaje), delay);
	}
}

void envio_pared(void) {
	sprintf(mensaje, "Choque pared\r\n");
	HAL_UART_Transmit(&huart5, (uint8_t*) mensaje, strlen(mensaje), delay);
}

void envio_llegada(void) {
	if (uart_llegada == 0) {
		sprintf(mensaje, "Llegue a la meta\r\n");
		HAL_UART_Transmit(&huart5, (uint8_t*) mensaje, strlen(mensaje), delay);
		uart_llegada = 1;
	}
}

void envio_casilla_n(uint8_t casilla_n) {
	sprintf(mensaje, "Siguiente casilla: %d\r\n", casilla_n);
	HAL_UART_Transmit(&huart5, (uint8_t*) mensaje, strlen(mensaje), delay);
}

void filtrado_linea_funcion(void) {
	uint32_t tiempo_actual_2 = HAL_GetTick();
	if (tiempo_rebotes <= (tiempo_actual_2 - tiempo_inicio_2)) {
		GPIO_PinState estado_sensor_2 = HAL_GPIO_ReadPin(sensor_linea_GPIO_Port, sensor_linea_Pin);
		if (GPIO_PIN_RESET == estado_sensor_2) {
			solicitud_linea = 1;
		}
		filtrado_linea = 0;
	}
}
void HAL_GPIO_EXTI_Callback(uint16_t GPIO_Pin) {
	if ((GPIO_Pin == sensor_linea_Pin) && (filtrado_linea == 0)) {
		tiempo_inicio_2 = HAL_GetTick();
		filtrado_linea = 1;
	}
}
/*
 void envio_contador(uint8_t contador_aux) {
 mensaje[0] = '\0';
 sprintf(mensaje, "%d", contador_aux);
 strcat(mensaje, "\r\n");
 HAL_UART_Transmit(&huart5, (uint8_t*) mensaje, sizeof(mensaje), delay);
 }
 */

/* USER CODE END 4 */

void Error_Handler(void) {
	__disable_irq();
	while (1) {
	}
}
